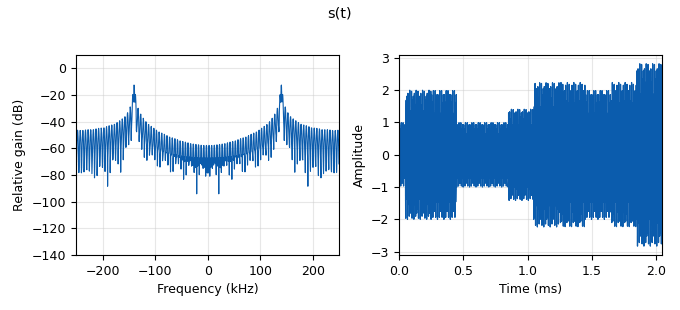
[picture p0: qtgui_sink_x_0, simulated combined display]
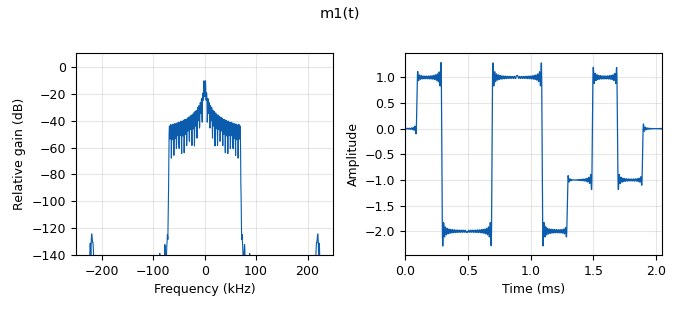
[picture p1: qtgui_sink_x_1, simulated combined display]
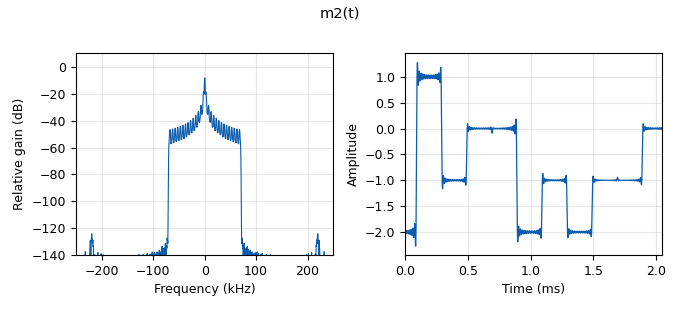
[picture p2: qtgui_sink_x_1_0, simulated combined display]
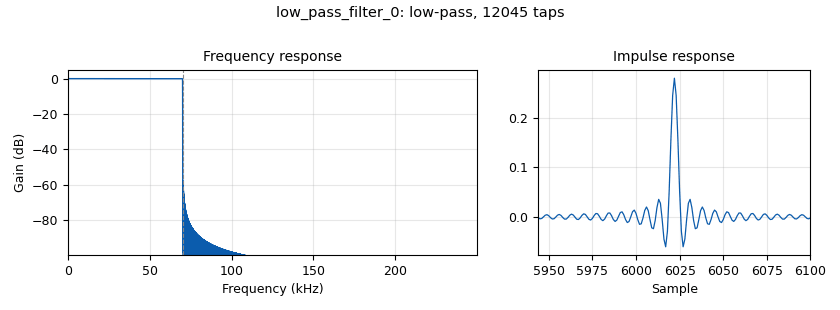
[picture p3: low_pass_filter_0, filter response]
options:
  parameters:
    author: Siva Dhanush Kosuri
    copyright: '2022'
    generate_options: qt_gui
    id: QAM
    output_language: python
    title: QAM
  states: {}

blocks:
- name: samp_rate
  id: variable
  parameters:
    value: '500000'
  states: {}
- name: analog_random_source_x_0
  id: analog_random_source_x
  parameters:
    max: '2'
    min: '-2'
    num_samps: '1000'
    repeat: 'True'
    type: int
  states: {}
- name: analog_random_source_x_0_0
  id: analog_random_source_x
  parameters:
    max: '2'
    min: '-2'
    num_samps: '1000'
    repeat: 'True'
    type: int
  states: {}
- name: analog_sig_source_x_0_1
  id: analog_sig_source_x
  parameters:
    amp: '1'
    freq: '140000'
    offset: '0'
    phase: '0'
    samp_rate: samp_rate
    type: float
    waveform: analog.GR_COS_WAVE
  states: {}
- name: analog_sig_source_x_0_1_0
  id: analog_sig_source_x
  parameters:
    amp: '1'
    freq: '140000'
    offset: '0'
    phase: '0'
    samp_rate: samp_rate
    type: float
    waveform: analog.GR_SIN_WAVE
  states: {}
- name: analog_sig_source_x_0_1_0_0
  id: analog_sig_source_x
  parameters:
    amp: '2'
    freq: '140000'
    offset: '0'
    phase: '0'
    samp_rate: samp_rate
    type: float
    waveform: analog.GR_SIN_WAVE
  states: {}
- name: analog_sig_source_x_0_1_1
  id: analog_sig_source_x
  parameters:
    amp: '2'
    freq: '140000'
    offset: '0'
    phase: '0'
    samp_rate: samp_rate
    type: float
    waveform: analog.GR_COS_WAVE
  states: {}
- name: blocks_add_xx_0
  id: blocks_add_xx
  parameters:
    type: float
  states: {}
- name: blocks_int_to_float_0
  id: blocks_int_to_float
  parameters:
    scale: '1'
  states: {}
- name: blocks_int_to_float_0_0
  id: blocks_int_to_float
  parameters:
    scale: '1'
  states: {}
- name: blocks_multiply_xx_0
  id: blocks_multiply_xx
  parameters:
    type: float
  states: {}
- name: blocks_multiply_xx_0_0
  id: blocks_multiply_xx
  parameters:
    type: float
  states: {}
- name: blocks_multiply_xx_0_0_0
  id: blocks_multiply_xx
  parameters:
    type: float
  states: {}
- name: blocks_multiply_xx_0_0_0_0
  id: blocks_multiply_xx
  parameters:
    type: float
  states: {}
- name: blocks_repeat_0
  id: blocks_repeat
  parameters:
    interp: '100'
    type: int
  states: {}
- name: blocks_repeat_0_0
  id: blocks_repeat
  parameters:
    interp: '100'
    type: int
  states: {}
- name: blocks_streams_to_vector_0
  id: blocks_streams_to_vector
  parameters:
    type: int
  states: {}
- name: blocks_vector_to_streams_0
  id: blocks_vector_to_streams
  parameters:
    type: int
  states: {}
- name: low_pass_filter_0
  id: low_pass_filter
  parameters:
    cutoff_freq: '70000'
    decim: '1'
    gain: '1'
    samp_rate: samp_rate
    type: fir_filter_fff
    width: '100'
    win: window.WIN_HAMMING
  states: {}
- name: low_pass_filter_0_0
  id: low_pass_filter
  parameters:
    cutoff_freq: '70000'
    decim: '1'
    gain: '1'
    samp_rate: samp_rate
    type: fir_filter_fff
    width: '100'
    win: window.WIN_HAMMING
  states: {}
- name: qtgui_sink_x_0
  id: qtgui_sink_x
  parameters:
    bw: samp_rate
    fc: '0'
    fftsize: '1024'
    name: s(t)
    type: float
  states: {}
- name: qtgui_sink_x_1
  id: qtgui_sink_x
  parameters:
    bw: samp_rate
    fc: '0'
    fftsize: '1024'
    name: m1(t)
    type: float
  states: {}
- name: qtgui_sink_x_1_0
  id: qtgui_sink_x
  parameters:
    bw: samp_rate
    fc: '0'
    fftsize: '1024'
    name: m2(t)
    type: float
  states: {}

connections:
- [analog_random_source_x_0, '0', blocks_repeat_0, '0']
- [analog_random_source_x_0_0, '0', blocks_repeat_0_0, '0']
- [analog_sig_source_x_0_1, '0', blocks_multiply_xx_0, '1']
- [analog_sig_source_x_0_1_0, '0', blocks_multiply_xx_0_0, '0']
- [analog_sig_source_x_0_1_0_0, '0', blocks_multiply_xx_0_0_0_0, '0']
- [analog_sig_source_x_0_1_1, '0', blocks_multiply_xx_0_0_0, '1']
- [blocks_add_xx_0, '0', blocks_multiply_xx_0_0_0, '0']
- [blocks_add_xx_0, '0', blocks_multiply_xx_0_0_0_0, '1']
- [blocks_add_xx_0, '0', qtgui_sink_x_0, '0']
- [blocks_int_to_float_0, '0', blocks_multiply_xx_0, '0']
- [blocks_int_to_float_0_0, '0', blocks_multiply_xx_0_0, '1']
- [blocks_multiply_xx_0, '0', blocks_add_xx_0, '0']
- [blocks_multiply_xx_0_0, '0', blocks_add_xx_0, '1']
- [blocks_multiply_xx_0_0_0, '0', low_pass_filter_0_0, '0']
- [blocks_multiply_xx_0_0_0_0, '0', low_pass_filter_0, '0']
- [blocks_repeat_0, '0', blocks_streams_to_vector_0, '0']
- [blocks_repeat_0_0, '0', blocks_streams_to_vector_0, '1']
- [blocks_streams_to_vector_0, '0', blocks_vector_to_streams_0, '0']
- [blocks_vector_to_streams_0, '0', blocks_int_to_float_0, '0']
- [blocks_vector_to_streams_0, '1', blocks_int_to_float_0_0, '0']
- [low_pass_filter_0, '0', qtgui_sink_x_1, '0']
- [low_pass_filter_0_0, '0', qtgui_sink_x_1_0, '0']

metadata:
  file_format: 1
  grc_version: 3.10.4.0
